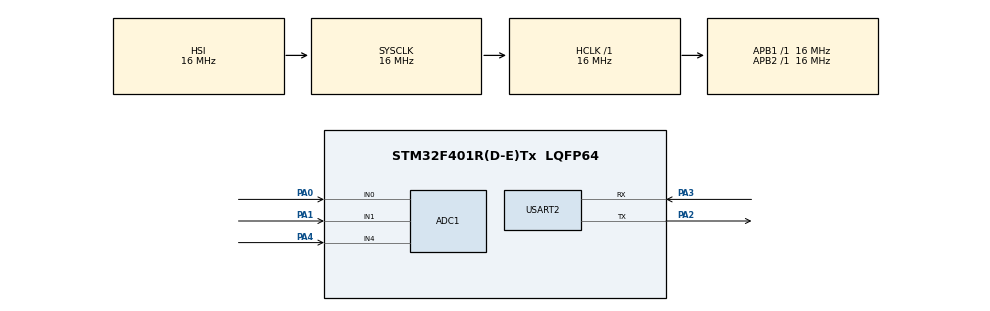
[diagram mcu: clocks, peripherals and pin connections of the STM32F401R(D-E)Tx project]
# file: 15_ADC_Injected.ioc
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ADC1.Channel-0\#ChannelRegularConversion=ADC_CHANNEL_0
ADC1.Channel-1\#ChannelInjectedConversion=ADC_CHANNEL_0
ADC1.Channel-2\#ChannelInjectedConversion=ADC_CHANNEL_1
ADC1.Channel-3\#ChannelInjectedConversion=ADC_CHANNEL_4
ADC1.InjNumberOfConversion=3
ADC1.InjectedOffset-1\#ChannelInjectedConversion=0
ADC1.InjectedOffset-2\#ChannelInjectedConversion=0
ADC1.InjectedOffset-3\#ChannelInjectedConversion=0
ADC1.InjectedRank-1\#ChannelInjectedConversion=1
ADC1.InjectedRank-2\#ChannelInjectedConversion=2
ADC1.InjectedRank-3\#ChannelInjectedConversion=3
ADC1.NbrOfConversionFlag=1
ADC1.Rank-0\#ChannelRegularConversion=1
ADC1.SamplingTime-0\#ChannelRegularConversion=ADC_SAMPLETIME_3CYCLES
ADC1.SamplingTime-1\#ChannelInjectedConversion=ADC_SAMPLETIME_3CYCLES
ADC1.SamplingTime-2\#ChannelInjectedConversion=ADC_SAMPLETIME_3CYCLES
ADC1.SamplingTime-3\#ChannelInjectedConversion=ADC_SAMPLETIME_3CYCLES
ADC1.master=1
Mcu.Family=STM32F4
Mcu.Name=STM32F401R(D-E)Tx
Mcu.Package=LQFP64
NVIC.ADC_IRQn=true\:0\:0\:false\:false\:true\:true\:true\:true
NVIC.PriorityGroup=NVIC_PRIORITYGROUP_4
PA0-WKUP.Signal=ADCx_IN0
PA1.Signal=ADCx_IN1
PA13.Mode=Serial_Wire
PA13.Signal=SYS_JTMS-SWDIO
PA14.Mode=Serial_Wire
PA14.Signal=SYS_JTCK-SWCLK
PA2.Mode=Asynchronous
PA2.Signal=USART2_TX
PA3.Mode=Asynchronous
PA3.Signal=USART2_RX
PA4.Signal=ADCx_IN4
ProjectManager.HeapSize=0x200
ProjectManager.StackSize=0x400
ProjectManager.TargetToolchain=STM32CubeIDE
RCC.AHBFreq_Value=16000000
RCC.APB1Freq_Value=16000000
RCC.APB2Freq_Value=16000000
RCC.CortexFreq_Value=16000000
RCC.HSE_VALUE=25000000
RCC.HSI_VALUE=16000000
RCC.LSE_VALUE=32768
RCC.SYSCLKFreq_VALUE=16000000
RCC.VCOOutputFreq_Value=192000000
SH.ADCx_IN0.0=ADC1_IN0,IN0
SH.ADCx_IN1.0=ADC1_IN1,IN1
SH.ADCx_IN4.0=ADC1_IN4,IN4
USART2.VirtualMode=VM_ASYNC
board=custom

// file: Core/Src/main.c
/* USER CODE BEGIN Header */
/**
  ******************************************************************************
  * @file           : main.c
  * @brief          : Main program body
  ******************************************************************************
  * @attention
  *
  * Copyright (c) 2023 STMicroelectronics.
  * All rights reserved.
  *
  * This software is licensed under terms that can be found in the LICENSE file
  * in the root directory of this software component.
  * If no LICENSE file comes with this software, it is provided AS-IS.
  *
  ******************************************************************************
  */
/* USER CODE END Header */
#include "main.h"
#include "adc.h"
#include "usart.h"
#include "gpio.h"

/* USER CODE BEGIN Includes */
#include <stdio.h>
#include <string.h>
/* USER CODE END Includes */

/* USER CODE BEGIN PD */
#define	AN0 0
#define AN1 1
#define AN4 4
/* USER CODE END PD */

/* USER CODE BEGIN PV */
uint32_t adc[3];
/* USER CODE END PV */

void SystemClock_Config(void);
/* USER CODE BEGIN PFP */
int __io_putchar(int ch){
	 HAL_UART_Transmit(&huart2,(const uint8_t *)&ch, 1, HAL_MAX_DELAY);
	 return ch;
}

uint32_t AnalogRead(uint32_t channel){

	uint32_t ADC_Value;
	 ADC_ChannelConfTypeDef sConfig = {0};
	 sConfig.Channel = channel;
	 sConfig.Rank = 1;
	 sConfig.SamplingTime = ADC_SAMPLETIME_3CYCLES;
	 if (HAL_ADC_ConfigChannel(&hadc1, &sConfig) != HAL_OK)
	 {
	    Error_Handler();
	 }

	 HAL_ADC_Start(&hadc1);
	 if(HAL_ADC_PollForConversion(&hadc1, 1000000)==HAL_OK){
		 ADC_Value = HAL_ADC_GetValue(&hadc1);
	 }

	 return ADC_Value;
}
/* USER CODE END PFP */

int main(void)
{

  /* MCU Configuration--------------------------------------------------------*/

  /* Reset of all peripherals, Initializes the Flash interface and the Systick. */
  HAL_Init();

  /* Configure the system clock */
  SystemClock_Config();

  /* Initialize all configured peripherals */
  MX_GPIO_Init();
  MX_ADC1_Init();
  MX_USART2_UART_Init();
  /* USER CODE BEGIN 2 */
  HAL_ADCEx_InjectedStart_IT(&hadc1);
  /* USER CODE END 2 */

  /* Infinite loop */
  /* USER CODE BEGIN WHILE */
  while (1)
  {
	  printf("ADC_Injected: ADC[0] = %u    ADC[1] = %u   ADC[4] = %u   \n\r",adc[0],adc[1],adc[2]);
	  HAL_Delay(400);
    /* USER CODE END WHILE */

  }
}

void SystemClock_Config(void)
{
  RCC_OscInitTypeDef RCC_OscInitStruct = {0};
  RCC_ClkInitTypeDef RCC_ClkInitStruct = {0};

  /** Configure the main internal regulator output voltage
  */
  __HAL_RCC_PWR_CLK_ENABLE();
  __HAL_PWR_VOLTAGESCALING_CONFIG(PWR_REGULATOR_VOLTAGE_SCALE2);

  /** Initializes the RCC Oscillators according to the specified parameters
  * in the RCC_OscInitTypeDef structure.
  */
  RCC_OscInitStruct.OscillatorType = RCC_OSCILLATORTYPE_HSI;
  RCC_OscInitStruct.HSIState = RCC_HSI_ON;
  RCC_OscInitStruct.HSICalibrationValue = RCC_HSICALIBRATION_DEFAULT;
  RCC_OscInitStruct.PLL.PLLState = RCC_PLL_NONE;
  if (HAL_RCC_OscConfig(&RCC_OscInitStruct) != HAL_OK)
  {
    Error_Handler();
  }

  /** Initializes the CPU, AHB and APB buses clocks
  */
  RCC_ClkInitStruct.ClockType = RCC_CLOCKTYPE_HCLK|RCC_CLOCKTYPE_SYSCLK
                              |RCC_CLOCKTYPE_PCLK1|RCC_CLOCKTYPE_PCLK2;
  RCC_ClkInitStruct.SYSCLKSource = RCC_SYSCLKSOURCE_HSI;
  RCC_ClkInitStruct.AHBCLKDivider = RCC_SYSCLK_DIV1;
  RCC_ClkInitStruct.APB1CLKDivider = RCC_HCLK_DIV1;
  RCC_ClkInitStruct.APB2CLKDivider = RCC_HCLK_DIV1;

  if (HAL_RCC_ClockConfig(&RCC_ClkInitStruct, FLASH_LATENCY_0) != HAL_OK)
  {
    Error_Handler();
  }
}

/* USER CODE BEGIN 4 */
void HAL_ADCEx_InjectedConvCpltCallback(ADC_HandleTypeDef* hadc)
{
	adc[0] = HAL_ADCEx_InjectedGetValue(&hadc1, ADC_INJECTED_RANK_1);
	adc[1] = HAL_ADCEx_InjectedGetValue(&hadc1, ADC_INJECTED_RANK_2);
	adc[2] = HAL_ADCEx_InjectedGetValue(&hadc1, ADC_INJECTED_RANK_3);
	HAL_ADCEx_InjectedStart_IT(&hadc1);
}

/* USER CODE END 4 */

void Error_Handler(void)
{
  __disable_irq();
  while (1)
  {
  }
}
